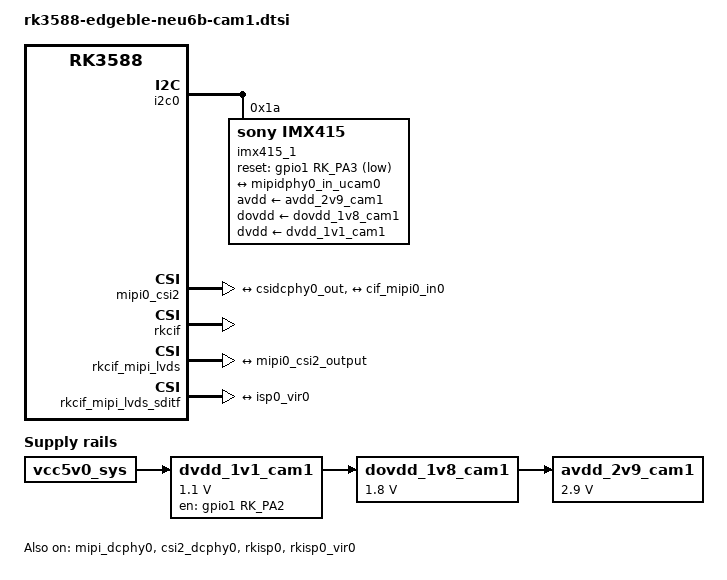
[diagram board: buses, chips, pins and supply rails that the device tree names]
// SPDX-License-Identifier: (GPL-2.0+ OR MIT)
/*
 * Copyright (c) 2023 Edgeble AI Technologies Pvt. Ltd.
 *
 * Edgeble Neu6B CAM1-IMX415.
 */

/ {
	dvdd_1v1_cam1: dvdd-1v1-cam1-regulator {
		compatible = "regulator-fixed";
		regulator-name = "dvdd_1v1_cam1";
		enable-active-high;
		gpio = <&gpio1 RK_PA2 GPIO_ACTIVE_HIGH>;
		pinctrl-names = "default";
		pinctrl-0 = <&pwdn_gpio_cam1>;
		regulator-always-on;
		regulator-boot-on;
		regulator-min-microvolt = <1100000>;
		regulator-max-microvolt = <1100000>;
		vin-supply = <&vcc5v0_sys>;
	};

	dovdd_1v8_cam1: dovdd-1v8-cam1-regulator {
		compatible = "regulator-fixed";
		regulator-name = "dovdd_1v8_cam1";
		regulator-always-on;
		regulator-boot-on;
		regulator-min-microvolt = <1800000>;
		regulator-max-microvolt = <1800000>;
		vin-supply = <&dvdd_1v1_cam1>;
	};

	avdd_2v9_cam1: avdd-2v9-cam1-regulator {
		compatible = "regulator-fixed";
		regulator-name = "avdd_2v9_cam1";
		regulator-always-on;
		regulator-boot-on;
		regulator-min-microvolt = <2900000>;
		regulator-max-microvolt = <2900000>;
		vin-supply = <&dovdd_1v8_cam1>;
	};
};

&pinctrl {
	cam1 {
		pwdn_gpio_cam1: pwdn-gpio-cam1 {
			rockchip,pins = <1 RK_PA2 RK_FUNC_GPIO &pcfg_pull_none>;
		};
	};
};

&i2c0 {
	pinctrl-names = "default";
	pinctrl-0 = <&i2c0m1_xfer>;
	#address-cells = <1>;
	#size-cells = <0>;
	status = "okay";

	imx415_1: imx415@1a {
		compatible = "sony,imx415";
		reg = <0x1a>;
		clocks = <&cru CLK_MIPI_CAMARAOUT_M1>;
		clock-names = "xvclk";
		pinctrl-names = "default";
		pinctrl-0 = <&mipim0_camera1_clk>;
		power-domains = <&power RK3588_PD_VI>;
		reset-gpios = <&gpio1 RK_PA3 GPIO_ACTIVE_LOW>;
		avdd-supply = <&avdd_2v9_cam1>;
		dovdd-supply = <&dovdd_1v8_cam1>;
		dvdd-supply = <&dvdd_1v1_cam1>;
		rockchip,camera-module-index = <0>;
		rockchip,camera-module-facing = "back";
		rockchip,camera-module-name = "EDGEBLE-CAM4K-A00";
		rockchip,camera-module-lens-name = "DEFAULT";
		port {
			imx415_1_out0: endpoint {
				remote-endpoint = <&mipidphy0_in_ucam0>;
				data-lanes = <1 2 3 4>;
			};
		};
	};
};

&mipi_dcphy0 {
	status = "okay";
};

&csi2_dcphy0 {
	status = "okay";

	ports {
		#address-cells = <1>;
		#size-cells = <0>;

		port@0 {
			reg = <0>;
			#address-cells = <1>;
			#size-cells = <0>;

			mipidphy0_in_ucam0: endpoint@1 {
				reg = <1>;
				remote-endpoint = <&imx415_1_out0>;
				data-lanes = <1 2 3 4>;
			};
		};

		port@1 {
			reg = <1>;
			#address-cells = <1>;
			#size-cells = <0>;

			csidcphy0_out: endpoint@0 {
				reg = <0>;
				remote-endpoint = <&mipi0_csi2_input>;
			};
		};
	};
};

&mipi0_csi2 {
	status = "okay";

	ports {
		#address-cells = <1>;
		#size-cells = <0>;

		port@0 {
			reg = <0>;
			#address-cells = <1>;
			#size-cells = <0>;

			mipi0_csi2_input: endpoint@1 {
				reg = <1>;
				remote-endpoint = <&csidcphy0_out>;
			};
		};

		port@1 {
			reg = <1>;
			#address-cells = <1>;
			#size-cells = <0>;

			mipi0_csi2_output: endpoint@0 {
				reg = <0>;
				remote-endpoint = <&cif_mipi0_in0>;
			};
		};
	};
};

&rkcif {
	status = "okay";
};

&rkcif_mipi_lvds {
	status = "okay";

	port {
		cif_mipi0_in0: endpoint {
			remote-endpoint = <&mipi0_csi2_output>;
		};
	};
};

&rkcif_mipi_lvds_sditf {
	status = "okay";

	port {
		mipi_lvds_sditf: endpoint {
			remote-endpoint = <&isp0_vir0>;
		};
	};
};

&rkcif_mmu {
	status = "okay";
};

&rkisp0 {
	status = "okay";
};

&isp0_mmu {
	status = "okay";
};

&rkisp0_vir0 {
	status = "okay";

	port {
		#address-cells = <1>;
		#size-cells = <0>;

		isp0_vir0: endpoint@0 {
			reg = <0>;
			remote-endpoint = <&mipi_lvds_sditf>;
		};
	};
};
